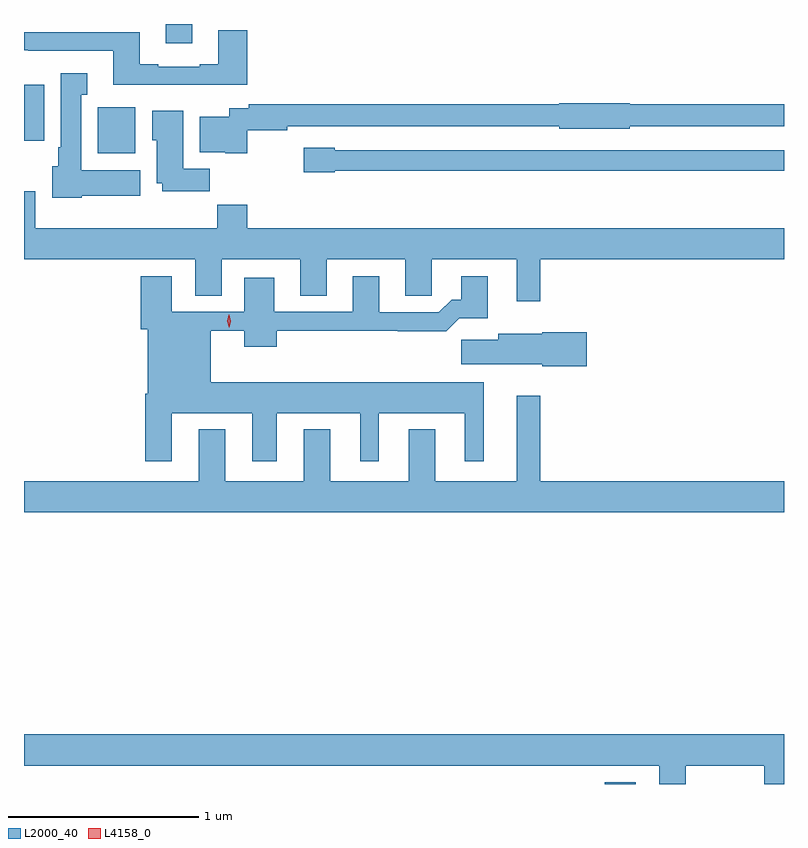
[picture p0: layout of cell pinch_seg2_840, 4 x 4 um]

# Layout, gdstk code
import gdstk
lib = gdstk.Library(unit=1e-6, precision=1e-09)
def R(c, l, rs):  # rectangles x0, y0, x1, y1
    for r in rs: c.add(gdstk.rectangle(r[:2], r[2:], *l))
def P(c, l, *ps):  # polygons
    for p in ps: c.add(gdstk.Polygon(p, *l))
L2000_40 = (2000, 40)
L4158_0 = (4158, 0)

pinch_seg2_840 = lib.new_cell('pinch_seg2_840')
R(pinch_seg2_840, L2000_40, [(532.997,590.263,533.161,590.272), (530.33,593.582,530.527,593.824), (529.941,593.648,530.047,593.944), (530.687,594.162,530.827,594.263)])
P(pinch_seg2_840, L2000_40, [(531.116,594.229),(530.963,594.229),(530.963,594.052),(530.867,594.052),(530.867,594.039),(530.647,594.039),(530.647,594.052),(530.551,594.052),(530.551,594.22),(529.941,594.22),(529.941,594.125),(529.963,594.125),(529.963,594.123),(530.411,594.123),(530.411,593.942),(531.116,593.942)],
  [(530.244,593.36),(530.554,593.36),(530.554,593.494),(530.242,593.494),(530.242,593.891),(530.275,593.891),(530.275,594.004),(530.135,594.004),(530.135,593.614),(530.12,593.614),(530.12,593.514),(530.09,593.514),(530.09,593.348),(530.244,593.348)],
  [(531.117,593.704),(531.326,593.704),(531.326,593.724),(532.758,593.724),(532.758,593.711),(533.13,593.711),(533.13,593.724),(533.941,593.724),(533.941,593.84),(533.13,593.84),(533.13,593.846),(532.758,593.846),(532.758,593.84),(531.124,593.84),(531.124,593.82),(531.021,593.82),(531.021,593.776),(530.867,593.776),(530.867,593.588),(531,593.588),(531,593.582),(531.117,593.582)],
  [(530.918,593.5),(530.779,593.5),(530.779,593.806),(530.615,593.806),(530.615,593.652),(530.639,593.652),(530.639,593.426),(530.669,593.426),(530.669,593.382),(530.918,593.382)],
  [(531.576,593.49),(533.941,593.49),(533.941,593.598),(531.576,593.598),(531.576,593.611),(531.414,593.611),(531.414,593.482),(531.576,593.482)],
  [(532.657,593.024),(533.941,593.024),(533.941,593.188),(531.116,593.188),(531.116,593.312),(530.959,593.312),(530.959,593.188),(529.999,593.188),(529.999,593.383),(529.941,593.383),(529.941,593.024),(530.843,593.024),(530.843,592.834),(530.983,592.834),(530.983,593.024),(531.395,593.024),(531.395,592.834),(531.535,592.834),(531.535,593.024),(531.947,593.024),(531.947,592.834),(532.086,592.834),(532.086,593.024),(532.535,593.024),(532.535,592.803),(532.657,592.803)],
  [(530.719,592.214),(531.143,592.214),(531.143,591.963),(531.271,591.963),(531.271,592.214),(531.71,592.214),(531.71,591.963),(531.808,591.963),(531.808,592.214),(532.262,592.214),(532.262,591.963),(532.36,591.963),(532.36,592.378),(530.923,592.378),(530.923,592.648),(531.101,592.648),(531.101,592.565),(531.272,592.565),(531.272,592.648),(531.907,592.648),(531.907,592.646),(532.163,592.646),(532.232,592.715),(532.381,592.715),(532.381,592.936),(532.241,592.936),(532.241,592.813),(532.192,592.813),(532.125,592.746),(531.811,592.746),(531.811,592.936),(531.671,592.936),(531.671,592.749),(531.259,592.749),(531.259,592.927),(531.101,592.927),(531.101,592.749),(530.719,592.749),(530.719,592.936),(530.555,592.936),(530.555,592.656),(530.591,592.656),(530.591,592.318),(530.579,592.318),(530.579,591.963),(530.719,591.963)],
  [(532.903,592.641),(532.668,592.641),(532.668,592.633),(532.436,592.633),(532.436,592.601),(532.242,592.601),(532.242,592.472),(532.668,592.472),(532.668,592.463),(532.903,592.463)],
  [(533.941,591.856),(532.657,591.856),(532.657,592.306),(532.535,592.306),(532.535,591.856),(532.105,591.856),(532.105,592.129),(531.965,592.129),(531.965,591.856),(531.553,591.856),(531.553,592.129),(531.413,592.129),(531.413,591.856),(531.001,591.856),(531.001,592.129),(530.861,592.129),(530.861,591.856),(529.941,591.856),(529.941,591.692),(533.941,591.692)],
  [(533.425,590.36),(533.837,590.36),(533.837,590.263),(533.941,590.263),(533.941,590.524),(529.941,590.524),(529.941,590.36),(533.285,590.36),(533.285,590.263),(533.425,590.263)])
P(pinch_seg2_840, L4158_0, [(531.02,592.665),(531.02,592.665),(531.01,592.699),(531.019,592.733),(531.019,592.733),(531.02,592.733),(531.03,592.699),(531.02,592.665)])

lib.write_gds('pinch_seg2_840.gds')
